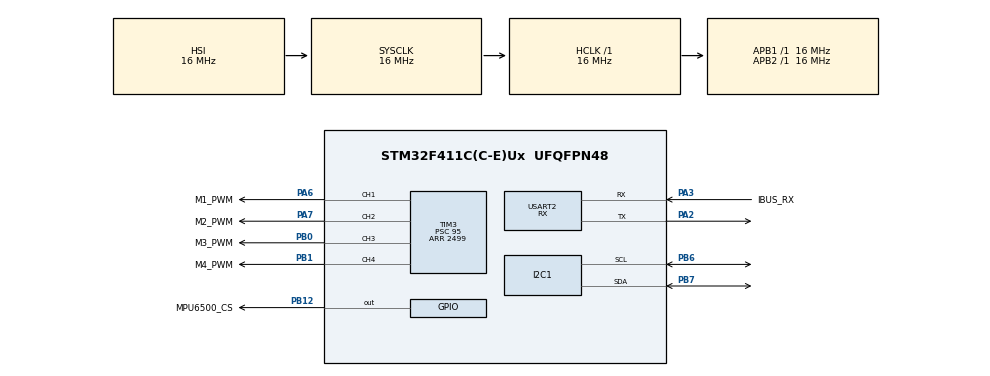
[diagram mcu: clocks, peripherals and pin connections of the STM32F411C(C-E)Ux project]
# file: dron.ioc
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Mcu.Family=STM32F4
Mcu.Name=STM32F411C(C-E)Ux
Mcu.Package=UFQFPN48
NVIC.PriorityGroup=NVIC_PRIORITYGROUP_4
NVIC.USART2_IRQn=true\:5\:0\:true\:false\:true\:true\:true\:true
PA13.Mode=Serial_Wire
PA13.Signal=SYS_JTMS-SWDIO
PA14.Mode=Serial_Wire
PA14.Signal=SYS_JTCK-SWCLK
PA2.Mode=Asynchronous
PA2.Signal=USART2_TX
PA3.GPIO_Label=IBUS_RX
PA3.Mode=Asynchronous
PA3.Signal=USART2_RX
PA6.GPIO_Label=M1_PWM
PA6.Signal=S_TIM3_CH1
PA7.GPIO_Label=M2_PWM
PA7.Signal=S_TIM3_CH2
PB0.GPIO_Label=M3_PWM
PB0.Signal=S_TIM3_CH3
PB1.GPIO_Label=M4_PWM
PB1.Signal=S_TIM3_CH4
PB12.GPIO_Label=MPU6500_CS
PB12.PinState=GPIO_PIN_SET
PB12.Signal=GPIO_Output
PB13.GPIO_Label=MPU6500_SCK
PB13.Signal=SPI2_SCK
PB14.GPIO_Label=MPU6500_MISO
PB14.Signal=SPI2_MISO
PB15.GPIO_Label=MPU6500_MOSI
PB15.Signal=SPI2_MOSI
PB6.GPIO_Speed=GPIO_SPEED_FREQ_LOW
PB6.Mode=I2C
PB6.Signal=I2C1_SCL
PB7.GPIO_Speed=GPIO_SPEED_FREQ_LOW
PB7.Mode=I2C
PB7.Signal=I2C1_SDA
ProjectManager.HeapSize=0x200
ProjectManager.StackSize=0x400
ProjectManager.TargetToolchain=STM32CubeIDE
RCC.AHBFreq_Value=16000000
RCC.APB1Freq_Value=16000000
RCC.APB2Freq_Value=16000000
RCC.CortexFreq_Value=16000000
RCC.HSE_VALUE=25000000
RCC.HSI_VALUE=16000000
RCC.LSE_VALUE=32768
RCC.SYSCLKFreq_VALUE=16000000
RCC.VCOOutputFreq_Value=192000000
SH.S_TIM3_CH1.0=TIM3_CH1,PWM Generation1 CH1
SH.S_TIM3_CH2.0=TIM3_CH2,PWM Generation2 CH2
SH.S_TIM3_CH3.0=TIM3_CH3,PWM Generation3 CH3
SH.S_TIM3_CH4.0=TIM3_CH4,PWM Generation4 CH4
TIM3.Channel-PWM\ Generation1\ CH1=TIM_CHANNEL_1
TIM3.Channel-PWM\ Generation2\ CH2=TIM_CHANNEL_2
TIM3.Channel-PWM\ Generation3\ CH3=TIM_CHANNEL_3
TIM3.Channel-PWM\ Generation4\ CH4=TIM_CHANNEL_4
TIM3.OC1Preload_PWM=DISABLE
TIM3.OC2Preload_PWM=DISABLE
TIM3.OC3Preload_PWM=DISABLE
TIM3.OC4Preload_PWM=DISABLE
TIM3.Period=2499
TIM3.Prescaler=95
TIM3.Pulse-PWM\ Generation1\ CH1=1000
TIM3.Pulse-PWM\ Generation2\ CH2=1000
TIM3.Pulse-PWM\ Generation3\ CH3=1000
TIM3.Pulse-PWM\ Generation4\ CH4=1000
USART2.Mode=MODE_RX
USART2.VirtualMode=VM_ASYNC
VP_TIM3_VS_ClockSourceINT.Mode=Internal
board=custom

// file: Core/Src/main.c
/* USER CODE BEGIN Header */
/**
  ******************************************************************************
  * @file           : main.c
  * @brief          : Main program body
  ******************************************************************************
  * @attention
  *
  * Copyright (c) 2026 STMicroelectronics.
  * All rights reserved.
  *
  * This software is licensed under terms that can be found in the LICENSE file
  * in the root directory of this software component.
  * If no LICENSE file comes with this software, it is provided AS-IS.
  *
  ******************************************************************************
  */
/* USER CODE END Header */
#include "main.h"

/* USER CODE BEGIN Includes */
/* Quadcopter flight controller (STM32F411CEU6 Black Pill).
 * The gyro is calibrated at startup, then a 100 Hz loop runs:
 * RC input -> IMU -> attitude filter -> PID -> motor mixer -> ESCs. */
#include <math.h>

#include "esc_pwm.h"
#include "flight_diagnostics.h"
#include "ibus_receiver.h"
#include "imu_filter.h"
#include "motor_control.h"
#include "mpu6500.h"
#include "pid_controller.h"
#include "rc_arm.h"
#include "rc_input.h"

#ifndef MPU6500_USE_SPI
#error "MPU6500_USE_SPI undefined: include mpu6500.h"
#endif

/* USER CODE END Includes */

/* USER CODE BEGIN PTD */

typedef enum
{
  SYSTEM_CLOCK_SOURCE_NONE = 0U,
  SYSTEM_CLOCK_SOURCE_HSE_PLL,
  SYSTEM_CLOCK_SOURCE_HSI,
  SYSTEM_CLOCK_SOURCE_PLL_PRESET
} SystemClockSource_t;

typedef enum
{
  FLIGHT_STOP_REASON_NONE = 0U,
  FLIGHT_STOP_REASON_USER_DISARM,
  FLIGHT_STOP_REASON_RC_INPUT_LOST,
  FLIGHT_STOP_REASON_SYSTEM_NOT_READY,
  FLIGHT_STOP_REASON_MPU_READ_ERROR,
  FLIGHT_STOP_REASON_LOOP_TIMING_ERROR,
  FLIGHT_STOP_REASON_MOTOR_CONTROL_BLOCKED,
  FLIGHT_STOP_REASON_UNKNOWN
} FlightStopReason_t;

/* USER CODE END PTD */

/* USER CODE BEGIN PD */

#define RC_COMMAND_MOTOR_OUTPUT_ENABLED 1
#define CONTROL_LOOP_PERIOD_MS          10U  /* 100 Hz */
/* Level offset: the angle the sensor reads while the drone is level.
 * Re-measure it if the sensor or its mounting changes. */
#define IMU_LEVEL_ROLL_OFFSET_DEG       0.0f
#define IMU_LEVEL_PITCH_OFFSET_DEG      0.0f
#define IMU_CALIB_MAX_GYRO_SPREAD_DPS   3.0f
#define IMU_CALIB_MAX_ACCEL_SPREAD_G    0.05f
#define IMU_CALIB_MAX_ATTEMPTS          3U

#define IMU_READ_FAIL_TOLERANCE         3U  /* motors stop after this many consecutive IMU errors */

#define MPU_POWER_UP_DELAY_MS           100U

/* Watchdog (IWDG): the MCU resets if the loop stalls for ~1 s. */
#define WATCHDOG_PRESCALER_CODE         3U
#define WATCHDOG_RELOAD_VALUE           1000U
#define WATCHDOG_KEY_START              0xCCCCU
#define WATCHDOG_KEY_WRITE_ACCESS       0x5555U
#define WATCHDOG_KEY_RELOAD             0xAAAAU
#define WATCHDOG_SYNC_TIMEOUT_MS        48U

#define RESET_CAUSE_FLAG_LPWR           0x01U
#define RESET_CAUSE_FLAG_WWDG           0x02U
#define RESET_CAUSE_FLAG_IWDG           0x04U
#define RESET_CAUSE_FLAG_SFT            0x08U
#define RESET_CAUSE_FLAG_POR            0x10U
#define RESET_CAUSE_FLAG_PIN            0x20U
#define RESET_CAUSE_FLAG_BOR            0x40U
#define IMU_SIGN_CHECK_TRIGGER_DPS      20.0f
/* USER CODE END PD */

I2C_HandleTypeDef hi2c1;

TIM_HandleTypeDef htim3;

UART_HandleTypeDef huart2;

/* USER CODE BEGIN PV */
volatile SystemClockSource_t system_clock_source = SYSTEM_CLOCK_SOURCE_NONE;
volatile HAL_StatusTypeDef system_clock_hse_status = HAL_ERROR;
volatile uint32_t system_hclk_hz;
volatile uint32_t system_pclk1_hz;
volatile uint32_t system_timer_clock_hz;
volatile uint32_t system_timer_prescaler;
MPU6500_Data_t mpu_data;
HAL_StatusTypeDef mpu_status;
IMU_Filter_t imu_filter;
HAL_StatusTypeDef imu_calibration_status;
uint8_t imu_filter_ready;
uint32_t imu_last_tick;
uint32_t control_loop_next_tick;
volatile uint32_t control_loop_schedule_late_count;
volatile uint32_t control_loop_schedule_resync_count;
volatile uint32_t control_loop_last_lateness_ms;
volatile float imu_control_roll_deg;
volatile float imu_control_pitch_deg;
volatile float imu_calib_bias_x_dps;
volatile float imu_calib_bias_y_dps;
volatile float imu_calib_bias_z_dps;
volatile float imu_calib_spread_x_dps;
volatile float imu_calib_spread_y_dps;
volatile float imu_calib_spread_z_dps;
volatile float imu_calib_accel_spread_g;
volatile uint32_t imu_calib_attempt_count;
volatile uint32_t imu_calib_reject_count;
PID_Controller_t roll_pid;
PID_Controller_t pitch_pid;
PID_Controller_t yaw_rate_pid;
volatile float roll_setpoint_deg;
volatile float pitch_setpoint_deg;
volatile float yaw_rate_setpoint_dps;
volatile float roll_pid_output;
volatile float pitch_pid_output;
volatile float yaw_pid_output;
HAL_StatusTypeDef esc_status;
HAL_StatusTypeDef ibus_start_status;
volatile uint8_t rc_command_preview_valid;
volatile uint8_t rc_command_motor_lock_active;
volatile uint8_t rc_command_system_ready;
volatile uint16_t rc_command_throttle_preview_us;
#define FLIGHT_YAW_SATURATION_EPSILON_US 0.5f
volatile uint32_t flight_yaw_armed_loop_count;
volatile uint32_t flight_yaw_saturated_count;
volatile float flight_yaw_integral_peak;
volatile float flight_yaw_rate_mean_dps;
static uint8_t flight_yaw_session_active;
#define FLIGHT_YAW_CENTERED_SETPOINT_DPS 0.5f
volatile float flight_yaw_output_mean_us;
volatile float flight_roll_integral_peak;
volatile float flight_pitch_integral_peak;
#define PID_INTEGRAL_ENABLE_THROTTLE_US 1250U
/* ESC calibration mode: within 15 s after power-up, with arm off, holding
 * throttle above 95% for 2 s passes throttle straight to the ESCs. NO PROPS! */
#define ESC_CALIBRATION_WINDOW_MS    15000U
#define ESC_CALIBRATION_HOLD_MS       2000U
#define ESC_CALIBRATION_THROTTLE_MIN   0.95f
volatile uint8_t esc_calibration_active;
volatile uint16_t esc_calibration_pulse_us;
volatile uint32_t esc_calibration_pass_count;
static uint8_t esc_calibration_hold_active;
static uint32_t esc_calibration_hold_start_tick;
volatile FlightStopReason_t flight_stop_reason;
volatile uint32_t flight_stop_count;
volatile uint8_t flight_stop_session_active;
volatile RC_ArmState_t flight_stop_rc_arm_state;
volatile RC_InputStatus_t flight_stop_rc_input_status;
volatile IBUS_Status_t flight_stop_ibus_status;
volatile MotorControl_State_t flight_stop_motor_control_state;
volatile HAL_StatusTypeDef flight_stop_mpu_status;
volatile HAL_StatusTypeDef flight_stop_mpu_read_status;
volatile uint8_t flight_stop_rc_input_valid;
volatile uint8_t flight_stop_ibus_link_valid;
volatile uint8_t flight_stop_system_ready;
volatile uint32_t flight_stop_i2c_error;
volatile uint32_t flight_stop_hi2c_error;
volatile uint32_t flight_stop_ibus_frame_age_ms;
volatile float flight_stop_roll_deg;
volatile float flight_stop_pitch_deg;
volatile float flight_stop_throttle_percent;
volatile uint16_t flight_stop_motor_throttle_us;
volatile uint16_t flight_stop_esc_motor_us[ESC_PWM_CHANNEL_COUNT];

volatile uint8_t imu_read_fail_streak;
volatile uint32_t imu_read_coast_count;

volatile uint8_t watchdog_started;
volatile uint32_t main_loop_pass_count;
volatile uint32_t imu_recovery_pass_count;
volatile uint32_t imu_init_start_tick;
volatile uint32_t imu_init_extra_delay_ms;

/* Axis sign test. Expected: roll + right side down, pitch + nose up,
 * yaw + clockwise seen from above. */
volatile float imu_sign_check_gyro_min_dps[3];
volatile float imu_sign_check_gyro_max_dps[3];
volatile float imu_sign_check_first_dps[3];
volatile uint8_t imu_sign_check_first_captured[3];

volatile uint8_t reset_cause_flags;
volatile uint8_t reset_cause_was_watchdog;
/* USER CODE END PV */

void SystemClock_Config(void);
static void MX_GPIO_Init(void);
static void MX_I2C1_Init(void);
static void MX_USART2_UART_Init(void);
static void MX_TIM3_Init(void);
/* USER CODE BEGIN PFP */
static HAL_StatusTypeDef SystemClock_ConfigHsePll(void);
static void SystemClock_UpgradeToHsePll(void);
#if !MPU6500_USE_SPI
static HAL_StatusTypeDef I2C1_BusRecover(void);
#endif
static HAL_StatusTypeDef IMU_CalibrateGyroOnce(uint16_t sample_count);
static HAL_StatusTypeDef IMU_CalibrateGyro(uint16_t sample_count);
static uint8_t RC_CommandSystemReady(void);
static void RC_CommandForceSystemDisarm(void);
static void ControlLoop_WaitNext(void);
static void FlightStopDiagnostics_Init(void);
static void FlightStopDiagnostics_Latch(FlightStopReason_t reason);
static FlightStopReason_t FlightStopDiagnostics_RCReason(void);

static void ResetCause_Capture(void);
static void Watchdog_Start(void);
static void Watchdog_Refresh(void);
static void IMU_SignCheck_Update(void);
/* USER CODE END PFP */

/* USER CODE BEGIN 0 */
static HAL_StatusTypeDef SystemClock_ConfigHsePll(void)
{
  RCC_OscInitTypeDef RCC_OscInitStruct = {0};
  RCC_ClkInitTypeDef RCC_ClkInitStruct = {0};

  RCC_OscInitStruct.OscillatorType = RCC_OSCILLATORTYPE_HSE;
  RCC_OscInitStruct.HSEState = RCC_HSE_ON;
  RCC_OscInitStruct.PLL.PLLState = RCC_PLL_ON;
  RCC_OscInitStruct.PLL.PLLSource = RCC_PLLSOURCE_HSE;
  RCC_OscInitStruct.PLL.PLLM = 25;
  RCC_OscInitStruct.PLL.PLLN = 192;
  RCC_OscInitStruct.PLL.PLLP = RCC_PLLP_DIV2;
  RCC_OscInitStruct.PLL.PLLQ = 4;
  if (HAL_RCC_OscConfig(&RCC_OscInitStruct) != HAL_OK)
  {
    return HAL_ERROR;
  }

  RCC_ClkInitStruct.ClockType = RCC_CLOCKTYPE_HCLK|RCC_CLOCKTYPE_SYSCLK
                              |RCC_CLOCKTYPE_PCLK1|RCC_CLOCKTYPE_PCLK2;
  RCC_ClkInitStruct.SYSCLKSource = RCC_SYSCLKSOURCE_PLLCLK;
  RCC_ClkInitStruct.AHBCLKDivider = RCC_SYSCLK_DIV1;
  RCC_ClkInitStruct.APB1CLKDivider = RCC_HCLK_DIV2;
  RCC_ClkInitStruct.APB2CLKDivider = RCC_HCLK_DIV1;

  return HAL_RCC_ClockConfig(&RCC_ClkInitStruct, FLASH_LATENCY_3);
}

/* Switch to 96 MHz (HSE + PLL); stays at 16 MHz if the HSE fails. */
static void SystemClock_UpgradeToHsePll(void)
{
  if (__HAL_RCC_GET_SYSCLK_SOURCE() == RCC_SYSCLKSOURCE_STATUS_PLLCLK)
  {
    system_clock_hse_status = HAL_OK;
    system_clock_source = SYSTEM_CLOCK_SOURCE_PLL_PRESET;
  }
  else
  {
    system_clock_hse_status = SystemClock_ConfigHsePll();
    system_clock_source = (system_clock_hse_status == HAL_OK)
                            ? SYSTEM_CLOCK_SOURCE_HSE_PLL
                            : SYSTEM_CLOCK_SOURCE_HSI;
  }

  system_hclk_hz = HAL_RCC_GetHCLKFreq();
  system_pclk1_hz = HAL_RCC_GetPCLK1Freq();
  system_timer_clock_hz = ESC_PWM_TimerClockHz();
  system_timer_prescaler = ESC_PWM_TimerPrescaler();
}

#if !MPU6500_USE_SPI
static HAL_StatusTypeDef I2C1_BusRecover(void)
{
  GPIO_InitTypeDef GPIO_InitStruct = {0};
  uint32_t pulse;

  (void)HAL_I2C_DeInit(&hi2c1);
  __HAL_RCC_I2C1_FORCE_RESET();
  HAL_Delay(1);
  __HAL_RCC_I2C1_RELEASE_RESET();

  __HAL_RCC_GPIOB_CLK_ENABLE();
  HAL_GPIO_WritePin(GPIOB, GPIO_PIN_6|GPIO_PIN_7, GPIO_PIN_SET);

  GPIO_InitStruct.Pin = GPIO_PIN_6|GPIO_PIN_7;
  GPIO_InitStruct.Mode = GPIO_MODE_OUTPUT_OD;
  GPIO_InitStruct.Pull = GPIO_PULLUP;
  GPIO_InitStruct.Speed = GPIO_SPEED_FREQ_VERY_HIGH;
  HAL_GPIO_Init(GPIOB, &GPIO_InitStruct);
  HAL_Delay(1);

  for (pulse = 0U; pulse < 9U; pulse++)
  {
    if (HAL_GPIO_ReadPin(GPIOB, GPIO_PIN_7) == GPIO_PIN_SET)
    {
      break;
    }

    HAL_GPIO_WritePin(GPIOB, GPIO_PIN_6, GPIO_PIN_RESET);
    HAL_Delay(1);
    HAL_GPIO_WritePin(GPIOB, GPIO_PIN_6, GPIO_PIN_SET);
    HAL_Delay(1);
  }

  HAL_GPIO_WritePin(GPIOB, GPIO_PIN_6, GPIO_PIN_RESET);
  HAL_GPIO_WritePin(GPIOB, GPIO_PIN_7, GPIO_PIN_RESET);
  HAL_Delay(1);
  HAL_GPIO_WritePin(GPIOB, GPIO_PIN_6, GPIO_PIN_SET);
  HAL_Delay(1);
  HAL_GPIO_WritePin(GPIOB, GPIO_PIN_7, GPIO_PIN_SET);
  HAL_Delay(1);

  HAL_GPIO_DeInit(GPIOB, GPIO_PIN_6|GPIO_PIN_7);

  return HAL_I2C_Init(&hi2c1);
}
#endif

static HAL_StatusTypeDef IMU_CalibrateGyroOnce(uint16_t sample_count)
{
  MPU6500_Data_t sample;
  HAL_StatusTypeDef status;
  float gyro_sum_x = 0.0f;
  float gyro_sum_y = 0.0f;
  float gyro_sum_z = 0.0f;
  float gyro_min_x = 0.0f;
  float gyro_max_x = 0.0f;
  float gyro_min_y = 0.0f;
  float gyro_max_y = 0.0f;
  float gyro_min_z = 0.0f;
  float gyro_max_z = 0.0f;
  float accel_min_g = 0.0f;
  float accel_max_g = 0.0f;
  uint16_t index;

  if (sample_count == 0U)
  {
    return HAL_ERROR;
  }

  for (index = 0U; index < sample_count; index++)
  {
    float accel_norm_g;

    status = MPU6500_ReadAll(&hi2c1, &sample);
    if (status != HAL_OK)
    {
      return status;
    }

    gyro_sum_x += sample.gyro_x_dps;
    gyro_sum_y += sample.gyro_y_dps;
    gyro_sum_z += sample.gyro_z_dps;

    accel_norm_g = sqrtf((sample.accel_x_g * sample.accel_x_g) +
                         (sample.accel_y_g * sample.accel_y_g) +
                         (sample.accel_z_g * sample.accel_z_g));

    if (index == 0U)
    {
      gyro_min_x = sample.gyro_x_dps;
      gyro_max_x = sample.gyro_x_dps;
      gyro_min_y = sample.gyro_y_dps;
      gyro_max_y = sample.gyro_y_dps;
      gyro_min_z = sample.gyro_z_dps;
      gyro_max_z = sample.gyro_z_dps;
      accel_min_g = accel_norm_g;
      accel_max_g = accel_norm_g;
    }
    else
    {
      if (sample.gyro_x_dps < gyro_min_x) { gyro_min_x = sample.gyro_x_dps; }
      if (sample.gyro_x_dps > gyro_max_x) { gyro_max_x = sample.gyro_x_dps; }
      if (sample.gyro_y_dps < gyro_min_y) { gyro_min_y = sample.gyro_y_dps; }
      if (sample.gyro_y_dps > gyro_max_y) { gyro_max_y = sample.gyro_y_dps; }
      if (sample.gyro_z_dps < gyro_min_z) { gyro_min_z = sample.gyro_z_dps; }
      if (sample.gyro_z_dps > gyro_max_z) { gyro_max_z = sample.gyro_z_dps; }
      if (accel_norm_g < accel_min_g) { accel_min_g = accel_norm_g; }
      if (accel_norm_g > accel_max_g) { accel_max_g = accel_norm_g; }
    }

    HAL_Delay(8);
  }

  imu_calib_bias_x_dps = gyro_sum_x / (float)sample_count;
  imu_calib_bias_y_dps = gyro_sum_y / (float)sample_count;
  imu_calib_bias_z_dps = gyro_sum_z / (float)sample_count;
  imu_calib_spread_x_dps = gyro_max_x - gyro_min_x;
  imu_calib_spread_y_dps = gyro_max_y - gyro_min_y;
  imu_calib_spread_z_dps = gyro_max_z - gyro_min_z;
  imu_calib_accel_spread_g = accel_max_g - accel_min_g;

  if ((imu_calib_spread_x_dps > IMU_CALIB_MAX_GYRO_SPREAD_DPS) ||
      (imu_calib_spread_y_dps > IMU_CALIB_MAX_GYRO_SPREAD_DPS) ||
      (imu_calib_spread_z_dps > IMU_CALIB_MAX_GYRO_SPREAD_DPS) ||
      (imu_calib_accel_spread_g > IMU_CALIB_MAX_ACCEL_SPREAD_G))
  {
    return HAL_BUSY;
  }

  IMU_Filter_SetGyroBias(&imu_filter,
                         imu_calib_bias_x_dps,
                         imu_calib_bias_y_dps,
                         imu_calib_bias_z_dps);

  return HAL_OK;
}

static HAL_StatusTypeDef IMU_CalibrateGyro(uint16_t sample_count)
{
  HAL_StatusTypeDef status = HAL_ERROR;
  uint32_t attempt;

  for (attempt = 0U; attempt < IMU_CALIB_MAX_ATTEMPTS; attempt++)
  {
    imu_calib_attempt_count++;
    status = IMU_CalibrateGyroOnce(sample_count);
    if (status != HAL_BUSY)
    {
      return status;
    }

    imu_calib_reject_count++;
    HAL_Delay(500);
  }

  return HAL_BUSY;
}

static uint8_t RC_CommandSystemReady(void)
{
  float roll_deg = imu_control_roll_deg;
  float pitch_deg = imu_control_pitch_deg;

  if ((esc_status != HAL_OK) || (esc_pwm_started == 0U) ||
      (mpu_status != HAL_OK) || (imu_filter_ready == 0U) ||
      (imu_filter.initialized == 0U) ||
      (roll_deg != roll_deg) || (pitch_deg != pitch_deg))
  {
    return 0U;
  }

  if ((rc_arm_request == 0U) &&
      ((roll_deg > MOTOR_CONTROL_ARM_MAX_TILT_DEG) ||
       (roll_deg < -MOTOR_CONTROL_ARM_MAX_TILT_DEG) ||
       (pitch_deg > MOTOR_CONTROL_ARM_MAX_TILT_DEG) ||
       (pitch_deg < -MOTOR_CONTROL_ARM_MAX_TILT_DEG)))
  {
    return 0U;
  }

  return 1U;
}

static void RC_CommandForceSystemDisarm(void)
{
  MotorControl_ForceDisarm();
  if (rc_arm_request != 0U)
  {
    RC_Arm_ForceSystemBlock();
  }
}

static void FlightStopDiagnostics_Init(void)
{
  uint32_t index;

  flight_stop_reason = FLIGHT_STOP_REASON_NONE;
  flight_stop_count = 0U;
  flight_stop_session_active = 0U;
  flight_stop_rc_arm_state = RC_ARM_STATE_NOT_READY;
  flight_stop_rc_input_status = RC_INPUT_STATUS_NOT_READY;
  flight_stop_ibus_status = IBUS_STATUS_NOT_STARTED;
  flight_stop_motor_control_state = MOTOR_CONTROL_DISARMED;
  flight_stop_mpu_status = HAL_ERROR;
  flight_stop_mpu_read_status = HAL_ERROR;
  flight_stop_rc_input_valid = 0U;
  flight_stop_ibus_link_valid = 0U;
  flight_stop_system_ready = 0U;
  flight_stop_i2c_error = 0U;
  flight_stop_hi2c_error = 0U;
  flight_stop_ibus_frame_age_ms = 0U;
  flight_stop_roll_deg = 0.0f;
  flight_stop_pitch_deg = 0.0f;
  flight_stop_throttle_percent = 0.0f;
  flight_stop_motor_throttle_us = MOTOR_CONTROL_IDLE_US;
  for (index = 0U; index < ESC_PWM_CHANNEL_COUNT; index++)
  {
    flight_stop_esc_motor_us[index] = ESC_PWM_MIN_US;
  }
}

static void FlightStopDiagnostics_Latch(FlightStopReason_t reason)
{
  uint32_t index;

  if ((flight_stop_session_active == 0U) ||
      (reason == FLIGHT_STOP_REASON_NONE))
  {
    return;
  }

  flight_stop_reason = reason;
  flight_stop_count++;
  flight_stop_rc_arm_state = rc_arm_state;
  flight_stop_rc_input_status = rc_input_status;
  flight_stop_ibus_status = ibus_status;
  flight_stop_motor_control_state = motor_control_state;
  flight_stop_mpu_status = mpu_status;
  flight_stop_mpu_read_status = mpu6500_diagnostic.read_status;
  flight_stop_rc_input_valid = rc_input_valid;
  flight_stop_ibus_link_valid = ibus_link_valid;
  flight_stop_system_ready = rc_command_system_ready;
  flight_stop_i2c_error = mpu6500_diagnostic.i2c_error;
  flight_stop_hi2c_error = hi2c1.ErrorCode;
  flight_stop_ibus_frame_age_ms = ibus_frame_age_ms;
  flight_stop_roll_deg = imu_control_roll_deg;
  flight_stop_pitch_deg = imu_control_pitch_deg;
  flight_stop_throttle_percent = rc_input_throttle_percent;
  flight_stop_motor_throttle_us = motor_throttle_us;
  for (index = 0U; index < ESC_PWM_CHANNEL_COUNT; index++)
  {
    flight_stop_esc_motor_us[index] = esc_motor_us[index];
  }
  flight_stop_session_active = 0U;
}

static FlightStopReason_t FlightStopDiagnostics_RCReason(void)
{
  if ((rc_input_valid == 0U) ||
      (rc_arm_state == RC_ARM_STATE_INPUT_LOST))
  {
    return FLIGHT_STOP_REASON_RC_INPUT_LOST;
  }
  if ((rc_command_system_ready == 0U) ||
      (rc_arm_state == RC_ARM_STATE_SYSTEM_BLOCKED))
  {
    return FLIGHT_STOP_REASON_SYSTEM_NOT_READY;
  }
  if (rc_input_arm_switch_on == 0U)
  {
    return FLIGHT_STOP_REASON_USER_DISARM;
  }
  return FLIGHT_STOP_REASON_UNKNOWN;
}

static void ControlLoop_WaitNext(void)
{
  uint32_t now_tick = HAL_GetTick();
  int32_t wait_ms = (int32_t)(control_loop_next_tick - now_tick);

  if (wait_ms > 0)
  {
    HAL_Delay((uint32_t)wait_ms);
    control_loop_last_lateness_ms = 0U;
  }
  else
  {
    uint32_t lateness_ms = now_tick - control_loop_next_tick;

    control_loop_last_lateness_ms = lateness_ms;
    if (lateness_ms > 0U)
    {
      control_loop_schedule_late_count++;
    }
    if (lateness_ms >= CONTROL_LOOP_PERIOD_MS)
    {
      control_loop_next_tick = now_tick;
      control_loop_schedule_resync_count++;
    }
  }

  control_loop_next_tick += CONTROL_LOOP_PERIOD_MS;
}

static void ResetCause_Capture(void)
{
  uint8_t flags = 0U;

  if (__HAL_RCC_GET_FLAG(RCC_FLAG_LPWRRST) != RESET)
  {
    flags |= RESET_CAUSE_FLAG_LPWR;
  }
  if (__HAL_RCC_GET_FLAG(RCC_FLAG_WWDGRST) != RESET)
  {
    flags |= RESET_CAUSE_FLAG_WWDG;
  }
  if (__HAL_RCC_GET_FLAG(RCC_FLAG_IWDGRST) != RESET)
  {
    flags |= RESET_CAUSE_FLAG_IWDG;
  }
  if (__HAL_RCC_GET_FLAG(RCC_FLAG_SFTRST) != RESET)
  {
    flags |= RESET_CAUSE_FLAG_SFT;
  }
  if (__HAL_RCC_GET_FLAG(RCC_FLAG_PORRST) != RESET)
  {
    flags |= RESET_CAUSE_FLAG_POR;
  }
  if (__HAL_RCC_GET_FLAG(RCC_FLAG_PINRST) != RESET)
  {
    flags |= RESET_CAUSE_FLAG_PIN;
  }
  if (__HAL_RCC_GET_FLAG(RCC_FLAG_BORRST) != RESET)
  {
    flags |= RESET_CAUSE_FLAG_BOR;
  }

  reset_cause_flags = flags;
  reset_cause_was_watchdog =
      ((flags & RESET_CAUSE_FLAG_IWDG) != 0U) ? 1U : 0U;

  __HAL_RCC_CLEAR_RESET_FLAGS();
}

static void Watchdog_Start(void)
{
  uint32_t start_tick;

  if (watchdog_started != 0U)
  {
    return;
  }

  IWDG->KR = WATCHDOG_KEY_START;
  IWDG->KR = WATCHDOG_KEY_WRITE_ACCESS;
  IWDG->PR = WATCHDOG_PRESCALER_CODE;
  IWDG->RLR = WATCHDOG_RELOAD_VALUE;

  start_tick = HAL_GetTick();
  while ((IWDG->SR & (IWDG_SR_PVU | IWDG_SR_RVU)) != 0U)
  {
    if ((HAL_GetTick() - start_tick) > WATCHDOG_SYNC_TIMEOUT_MS)
    {
      break;
    }
  }

  IWDG->KR = WATCHDOG_KEY_RELOAD;
  watchdog_started = 1U;
}

static void Watchdog_Refresh(void)
{
  if (watchdog_started == 0U)
  {
    return;
  }

  IWDG->KR = WATCHDOG_KEY_RELOAD;
}

static void IMU_SignCheck_Update(void)
{
  float axis[3];
  uint8_t index;

  axis[0] = imu_filter.gyro_x_dps;
  axis[1] = imu_filter.gyro_y_dps;
  axis[2] = imu_filter.gyro_z_dps;

  for (index = 0U; index < 3U; index++)
  {
    if (axis[index] < imu_sign_check_gyro_min_dps[index])
    {
      imu_sign_check_gyro_min_dps[index] = axis[index];
    }
    if (axis[index] > imu_sign_check_gyro_max_dps[index])
    {
      imu_sign_check_gyro_max_dps[index] = axis[index];
    }
    if ((imu_sign_check_first_captured[index] == 0U) &&
        ((axis[index] > IMU_SIGN_CHECK_TRIGGER_DPS) ||
         (axis[index] < -IMU_SIGN_CHECK_TRIGGER_DPS)))
    {
      imu_sign_check_first_dps[index] = axis[index];
      imu_sign_check_first_captured[index] = 1U;
    }
  }
}

static void EscCalibration_Update(void)
{
  uint32_t now_tick = HAL_GetTick();
  uint16_t pulse_us;
  float normalized;

  if (esc_calibration_active != 0U)
  {
    if (rc_input_valid != 0U)
    {
      normalized = rc_input_throttle_normalized;
      if (normalized < 0.0f)
      {
        normalized = 0.0f;
      }
      if (normalized > 1.0f)
      {
        normalized = 1.0f;
      }
      pulse_us = (uint16_t)((float)ESC_PWM_MIN_US +
                            (normalized *
                             (float)(ESC_PWM_MAX_US - ESC_PWM_MIN_US)));
    }
    else
    {
      pulse_us = (uint16_t)ESC_PWM_MIN_US;
    }
    esc_calibration_pulse_us = pulse_us;
    ESC_PWM_SetAll(pulse_us, pulse_us, pulse_us, pulse_us);
    esc_calibration_pass_count++;
    HAL_Delay(5);
    return;
  }

  if (now_tick > (uint32_t)ESC_CALIBRATION_WINDOW_MS)
  {
    esc_calibration_hold_active = 0U;
    return;
  }

  if ((rc_input_valid != 0U) &&
      (rc_input_arm_switch_on == 0U) &&
      (rc_input_throttle_normalized >= ESC_CALIBRATION_THROTTLE_MIN))
  {
    if (esc_calibration_hold_active == 0U)
    {
      esc_calibration_hold_active = 1U;
      esc_calibration_hold_start_tick = now_tick;
    }
    else if ((now_tick - esc_calibration_hold_start_tick) >=
             (uint32_t)ESC_CALIBRATION_HOLD_MS)
    {
      esc_calibration_active = 1U;
    }
    else
    {
    }
  }
  else
  {
    esc_calibration_hold_active = 0U;
  }
}
/* USER CODE END 0 */

int main(void)
{

  /* MCU Configuration--------------------------------------------------------*/

  /* Reset of all peripherals, Initializes the Flash interface and the Systick. */
  HAL_Init();

  /* Configure the system clock */
  SystemClock_Config();

  /* USER CODE BEGIN SysInit */
  SystemClock_UpgradeToHsePll();
  /* USER CODE END SysInit */

  /* Initialize all configured peripherals */
  MX_GPIO_Init();
  MX_I2C1_Init();
  MX_USART2_UART_Init();
  MX_TIM3_Init();
  /* USER CODE BEGIN 2 */
  ResetCause_Capture();
  __HAL_DBGMCU_FREEZE_IWDG();
  ibus_start_status = IBUS_Receiver_Start(&huart2);
  esc_status = ESC_PWM_Start(&htim3);
  MotorControl_Init();
  RC_Input_Init();
  RC_Arm_Init();
  IMU_Filter_Init(&imu_filter,
                  20.0f,   /* accel low-pass (Hz) */
                  60.0f,   /* gyro low-pass (Hz) */
                  1.5f);   /* complementary filter tau (s) */
  FlightDiagnostics_Init();
  FlightStopDiagnostics_Init();
  /* Roll: angle control */
  PID_Controller_Init(&roll_pid,
                      1.5f,    /* Kp */
                      0.6f,    /* Ki */
                      0.60f,   /* Kd */
                      50.0f,   /* integral limit */
                      (float)MOTOR_CONTROL_CORRECTION_LIMIT_US);  /* output limit (µs) */
  /* Pitch: angle control */
  PID_Controller_Init(&pitch_pid,
                      1.5f,    /* Kp */
                      0.6f,    /* Ki */
                      0.60f,   /* Kd */
                      50.0f,   /* integral limit */
                      (float)MOTOR_CONTROL_CORRECTION_LIMIT_US);  /* output limit (µs) */
  /* Yaw: rate control */
  PID_Controller_Init(&yaw_rate_pid,
                      2.0f,    /* Kp */
                      1.0f,    /* Ki */
                      0.0f,    /* Kd */
                      40.0f,   /* integral limit */
                      100.0f); /* output limit (µs) */
  roll_setpoint_deg = 0.0f;
  pitch_setpoint_deg = 0.0f;
  yaw_rate_setpoint_dps = 0.0f;
  roll_pid_output = 0.0f;
  pitch_pid_output = 0.0f;
  yaw_pid_output = 0.0f;
  rc_command_preview_valid = 0U;
  rc_command_motor_lock_active =
      (RC_COMMAND_MOTOR_OUTPUT_ENABLED != 0) ? 0U : 1U;
  rc_command_system_ready = 0U;
  rc_command_throttle_preview_us = MOTOR_CONTROL_IDLE_US;
  imu_calibration_status = HAL_BUSY;
  imu_filter_ready = 0U;
  imu_last_tick = HAL_GetTick();
  control_loop_next_tick = imu_last_tick + CONTROL_LOOP_PERIOD_MS;
  control_loop_schedule_late_count = 0U;
  control_loop_schedule_resync_count = 0U;
  control_loop_last_lateness_ms = 0U;
  imu_control_roll_deg = 0.0f;
  imu_control_pitch_deg = 0.0f;
  imu_read_fail_streak = 0U;
  imu_read_coast_count = 0U;
  imu_init_start_tick = HAL_GetTick();
  if (imu_init_start_tick < MPU_POWER_UP_DELAY_MS)
  {
    imu_init_extra_delay_ms =
        (uint32_t)(MPU_POWER_UP_DELAY_MS - imu_init_start_tick);
    HAL_Delay(imu_init_extra_delay_ms);
  }
  else
  {
    imu_init_extra_delay_ms = 0U;
  }
  mpu_status = MPU6500_Init(&hi2c1);

  /* USER CODE END 2 */

  /* Infinite loop */
  while (1)
  {

    /* USER CODE BEGIN 3 */
    {
      main_loop_pass_count++;
      Watchdog_Refresh();
      IBUS_Receiver_Update(HAL_GetTick());
      RC_Input_Update();

      EscCalibration_Update();
      if (esc_calibration_active != 0U)
      {
        continue;
      }
      rc_command_system_ready = RC_CommandSystemReady();
      RC_Arm_Update(rc_command_system_ready);
      if ((flight_stop_session_active != 0U) &&
          (rc_arm_request == 0U))
      {
        FlightStopDiagnostics_Latch(FlightStopDiagnostics_RCReason());
      }

      if (rc_input_valid != 0U)
      {
        roll_setpoint_deg = rc_input_roll_deg;
        pitch_setpoint_deg = rc_input_pitch_deg;
        yaw_rate_setpoint_dps = rc_input_yaw_rate_dps;
        rc_command_throttle_preview_us =
            MotorControl_ThrottleFromNormalized(rc_input_throttle_normalized);
        rc_command_preview_valid = 1U;
      }
      else
      {
        roll_setpoint_deg = 0.0f;
        pitch_setpoint_deg = 0.0f;
        yaw_rate_setpoint_dps = 0.0f;
        rc_command_throttle_preview_us = MOTOR_CONTROL_IDLE_US;
        rc_command_preview_valid = 0U;
      }

#if RC_COMMAND_MOTOR_OUTPUT_ENABLED
      motor_throttle_us = rc_command_throttle_preview_us;
      motor_arm_request = rc_arm_request;
#else
      motor_throttle_us = MOTOR_CONTROL_IDLE_US;
      motor_arm_request = 0U;
      MotorControl_ForceDisarm();
#endif
    }

    if (mpu_status == HAL_OK)
    {
      /* Gyro calibration once at startup; the drone must be still. */
      if (imu_filter_ready == 0U)
      {
        imu_calibration_status = IMU_CalibrateGyro(500U);
        if (imu_calibration_status == HAL_OK)
        {
          imu_filter_ready = 1U;
          imu_last_tick = HAL_GetTick();
          control_loop_next_tick =
              imu_last_tick + CONTROL_LOOP_PERIOD_MS;
          PID_Controller_Reset(&roll_pid);
          PID_Controller_Reset(&pitch_pid);
          PID_Controller_Reset(&yaw_rate_pid);
          RC_CommandForceSystemDisarm();
          Watchdog_Start();
        }
        else if (imu_calibration_status != HAL_BUSY)
        {
          mpu_status = imu_calibration_status;
        }
      }
      else
      {
        uint32_t now_tick;
        float dt_s;

        /* 100 Hz control step */
        ControlLoop_WaitNext();
        mpu_status = MPU6500_ReadAll(&hi2c1, &mpu_data);
        if (mpu_status == HAL_OK)
        {
          imu_read_fail_streak = 0U;
          now_tick = HAL_GetTick();
          dt_s = (float)(now_tick - imu_last_tick) * 0.001f;
          imu_last_tick = now_tick;
          if ((dt_s > 0.0f) && (dt_s <= 0.1f))
          {
            IMU_Filter_Update(&imu_filter, &mpu_data, dt_s);
            IMU_SignCheck_Update();
            imu_control_roll_deg =
                imu_filter.roll_deg - IMU_LEVEL_ROLL_OFFSET_DEG;
            imu_control_pitch_deg =
                imu_filter.pitch_deg - IMU_LEVEL_PITCH_OFFSET_DEG;
            if (motor_armed == 0U)
            {
              PID_Controller_ResetIntegral(&roll_pid);
              PID_Controller_ResetIntegral(&pitch_pid);
              PID_Controller_ResetIntegral(&yaw_rate_pid);
            }
            {
              uint8_t integral_enabled =
                  (motor_applied_throttle_us >
                   PID_INTEGRAL_ENABLE_THROTTLE_US) ? 1U : 0U;

              PID_Controller_SetIntegralEnabled(&roll_pid, integral_enabled);
              PID_Controller_SetIntegralEnabled(&pitch_pid, integral_enabled);
              PID_Controller_SetIntegralEnabled(&yaw_rate_pid,
                                                integral_enabled);
            }
            roll_pid_output = PID_Controller_Update(&roll_pid,
                                                    roll_setpoint_deg,
                                                    imu_control_roll_deg,
                                                    imu_filter.gyro_x_dps,
                                                    dt_s);
            pitch_pid_output = PID_Controller_Update(&pitch_pid,
                                                     pitch_setpoint_deg,
                                                     imu_control_pitch_deg,
                                                     imu_filter.gyro_y_dps,
                                                     dt_s);
            yaw_pid_output = PID_Controller_Update(&yaw_rate_pid,
                                                   yaw_rate_setpoint_dps,
                                                   imu_filter.gyro_z_dps,
                                                   0.0f,
                                                   dt_s);
            MotorControl_Update(mpu_status,
                                imu_filter_ready,
                                imu_control_roll_deg,
                                imu_control_pitch_deg,
                                roll_pid_output,
                                pitch_pid_output,
                                yaw_pid_output);
            if (motor_armed != 0U)
            {
              if (flight_yaw_session_active == 0U)
              {
                flight_yaw_session_active = 1U;
                flight_yaw_armed_loop_count = 0U;
                flight_yaw_saturated_count = 0U;
                flight_yaw_integral_peak = 0.0f;
                flight_yaw_rate_mean_dps = 0.0f;
                flight_yaw_output_mean_us = 0.0f;
                flight_roll_integral_peak = 0.0f;
                flight_pitch_integral_peak = 0.0f;
              }
              {
                float axis_integral_abs;

                axis_integral_abs = fabsf(roll_pid.integral);
                if (axis_integral_abs > flight_roll_integral_peak)
                {
                  flight_roll_integral_peak = axis_integral_abs;
                }
                axis_integral_abs = fabsf(pitch_pid.integral);
                if (axis_integral_abs > flight_pitch_integral_peak)
                {
                  flight_pitch_integral_peak = axis_integral_abs;
                }
              }
              if (fabsf(yaw_rate_setpoint_dps) <=
                  FLIGHT_YAW_CENTERED_SETPOINT_DPS)
              {
                float yaw_integral_abs;

                flight_yaw_armed_loop_count++;
                flight_yaw_rate_mean_dps +=
                    (imu_filter.gyro_z_dps - flight_yaw_rate_mean_dps) /
                    (float)flight_yaw_armed_loop_count;
                flight_yaw_output_mean_us +=
                    (yaw_pid_output - flight_yaw_output_mean_us) /
                    (float)flight_yaw_armed_loop_count;
                yaw_integral_abs = fabsf(yaw_rate_pid.integral);
                if (yaw_integral_abs > flight_yaw_integral_peak)
                {
                  flight_yaw_integral_peak = yaw_integral_abs;
                }
                if (fabsf(yaw_pid_output) >=
                    (yaw_rate_pid.output_limit -
                     FLIGHT_YAW_SATURATION_EPSILON_US))
                {
                  flight_yaw_saturated_count++;
                }
              }
            }
            else
            {
              flight_yaw_session_active = 0U;
            }
            if (motor_armed != 0U)
            {
              flight_stop_session_active = 1U;
            }
            else if ((flight_stop_session_active != 0U) &&
                     (rc_arm_request != 0U))
            {
              FlightStopDiagnostics_Latch(
                  FLIGHT_STOP_REASON_MOTOR_CONTROL_BLOCKED);
            }
            if ((rc_arm_request != 0U) && (motor_armed == 0U))
            {
              RC_Arm_ForceSystemBlock();
            }
            FlightDiagnostics_Update(dt_s, &mpu_data, motor_armed);
          }
          else
          {
            FlightStopDiagnostics_Latch(
                FLIGHT_STOP_REASON_LOOP_TIMING_ERROR);
            RC_CommandForceSystemDisarm();
          }
        }
        else
        {
          imu_read_fail_streak++;
          if (imu_read_fail_streak >= IMU_READ_FAIL_TOLERANCE)
          {
            FlightStopDiagnostics_Latch(FLIGHT_STOP_REASON_MPU_READ_ERROR);
            RC_CommandForceSystemDisarm();
          }
          else
          {
            imu_read_coast_count++;
            MotorControl_Update(HAL_OK,
                                imu_filter_ready,
                                imu_control_roll_deg,
                                imu_control_pitch_deg,
                                roll_pid_output,
                                pitch_pid_output,
                                yaw_pid_output);
            mpu_status = HAL_OK;
          }
        }
      }
    }
    else
    {
      FlightStopDiagnostics_Latch(FLIGHT_STOP_REASON_MPU_READ_ERROR);
      RC_CommandForceSystemDisarm();
      /* IMU error: motors stop and the sensor is re-initialized. */
      imu_recovery_pass_count++;
      Watchdog_Refresh();
      HAL_Delay(20);
#if MPU6500_USE_SPI
      mpu_status = MPU6500_Init(&hi2c1);
#else
      mpu_status = I2C1_BusRecover();
      if (mpu_status == HAL_OK)
      {
        mpu_status = MPU6500_Init(&hi2c1);
      }
#endif
      imu_read_fail_streak = 0U;
    }

  }
  /* USER CODE END 3 */
}

void SystemClock_Config(void)
{
  RCC_OscInitTypeDef RCC_OscInitStruct = {0};
  RCC_ClkInitTypeDef RCC_ClkInitStruct = {0};

  /** Configure the main internal regulator output voltage
  */
  __HAL_RCC_PWR_CLK_ENABLE();
  __HAL_PWR_VOLTAGESCALING_CONFIG(PWR_REGULATOR_VOLTAGE_SCALE1);

  /** Initializes the RCC Oscillators according to the specified parameters
  * in the RCC_OscInitTypeDef structure.
  */
  RCC_OscInitStruct.OscillatorType = RCC_OSCILLATORTYPE_HSI;
  RCC_OscInitStruct.HSIState = RCC_HSI_ON;
  RCC_OscInitStruct.HSICalibrationValue = RCC_HSICALIBRATION_DEFAULT;
  RCC_OscInitStruct.PLL.PLLState = RCC_PLL_NONE;
  if (HAL_RCC_OscConfig(&RCC_OscInitStruct) != HAL_OK)
  {
    Error_Handler();
  }

  /** Initializes the CPU, AHB and APB buses clocks
  */
  RCC_ClkInitStruct.ClockType = RCC_CLOCKTYPE_HCLK|RCC_CLOCKTYPE_SYSCLK
                              |RCC_CLOCKTYPE_PCLK1|RCC_CLOCKTYPE_PCLK2;
  RCC_ClkInitStruct.SYSCLKSource = RCC_SYSCLKSOURCE_HSI;
  RCC_ClkInitStruct.AHBCLKDivider = RCC_SYSCLK_DIV1;
  RCC_ClkInitStruct.APB1CLKDivider = RCC_HCLK_DIV1;
  RCC_ClkInitStruct.APB2CLKDivider = RCC_HCLK_DIV1;

  if (HAL_RCC_ClockConfig(&RCC_ClkInitStruct, FLASH_LATENCY_0) != HAL_OK)
  {
    Error_Handler();
  }
}

static void MX_I2C1_Init(void)
{

  hi2c1.Instance = I2C1;
  hi2c1.Init.ClockSpeed = 100000;
  hi2c1.Init.DutyCycle = I2C_DUTYCYCLE_2;
  hi2c1.Init.OwnAddress1 = 0;
  hi2c1.Init.AddressingMode = I2C_ADDRESSINGMODE_7BIT;
  hi2c1.Init.DualAddressMode = I2C_DUALADDRESS_DISABLE;
  hi2c1.Init.OwnAddress2 = 0;
  hi2c1.Init.GeneralCallMode = I2C_GENERALCALL_DISABLE;
  hi2c1.Init.NoStretchMode = I2C_NOSTRETCH_DISABLE;
  if (HAL_I2C_Init(&hi2c1) != HAL_OK)
  {
    Error_Handler();
  }

}

static void MX_TIM3_Init(void)
{

  TIM_ClockConfigTypeDef sClockSourceConfig = {0};
  TIM_MasterConfigTypeDef sMasterConfig = {0};
  TIM_OC_InitTypeDef sConfigOC = {0};

  htim3.Instance = TIM3;
  htim3.Init.Prescaler = 95;
  htim3.Init.CounterMode = TIM_COUNTERMODE_UP;
  htim3.Init.Period = 2499;
  htim3.Init.ClockDivision = TIM_CLOCKDIVISION_DIV1;
  htim3.Init.AutoReloadPreload = TIM_AUTORELOAD_PRELOAD_DISABLE;
  if (HAL_TIM_Base_Init(&htim3) != HAL_OK)
  {
    Error_Handler();
  }
  sClockSourceConfig.ClockSource = TIM_CLOCKSOURCE_INTERNAL;
  if (HAL_TIM_ConfigClockSource(&htim3, &sClockSourceConfig) != HAL_OK)
  {
    Error_Handler();
  }
  if (HAL_TIM_PWM_Init(&htim3) != HAL_OK)
  {
    Error_Handler();
  }
  sMasterConfig.MasterOutputTrigger = TIM_TRGO_RESET;
  sMasterConfig.MasterSlaveMode = TIM_MASTERSLAVEMODE_DISABLE;
  if (HAL_TIMEx_MasterConfigSynchronization(&htim3, &sMasterConfig) != HAL_OK)
  {
    Error_Handler();
  }
  sConfigOC.OCMode = TIM_OCMODE_PWM1;
  sConfigOC.Pulse = 1000;
  sConfigOC.OCPolarity = TIM_OCPOLARITY_HIGH;
  sConfigOC.OCFastMode = TIM_OCFAST_DISABLE;
  if (HAL_TIM_PWM_ConfigChannel(&htim3, &sConfigOC, TIM_CHANNEL_1) != HAL_OK)
  {
    Error_Handler();
  }
  __HAL_TIM_DISABLE_OCxPRELOAD(&htim3, TIM_CHANNEL_1);
  if (HAL_TIM_PWM_ConfigChannel(&htim3, &sConfigOC, TIM_CHANNEL_2) != HAL_OK)
  {
    Error_Handler();
  }
  __HAL_TIM_DISABLE_OCxPRELOAD(&htim3, TIM_CHANNEL_2);
  if (HAL_TIM_PWM_ConfigChannel(&htim3, &sConfigOC, TIM_CHANNEL_3) != HAL_OK)
  {
    Error_Handler();
  }
  __HAL_TIM_DISABLE_OCxPRELOAD(&htim3, TIM_CHANNEL_3);
  if (HAL_TIM_PWM_ConfigChannel(&htim3, &sConfigOC, TIM_CHANNEL_4) != HAL_OK)
  {
    Error_Handler();
  }
  __HAL_TIM_DISABLE_OCxPRELOAD(&htim3, TIM_CHANNEL_4);
  HAL_TIM_MspPostInit(&htim3);

}

static void MX_USART2_UART_Init(void)
{

  huart2.Instance = USART2;
  huart2.Init.BaudRate = 115200;
  huart2.Init.WordLength = UART_WORDLENGTH_8B;
  huart2.Init.StopBits = UART_STOPBITS_1;
  huart2.Init.Parity = UART_PARITY_NONE;
  huart2.Init.Mode = UART_MODE_RX;
  huart2.Init.HwFlowCtl = UART_HWCONTROL_NONE;
  huart2.Init.OverSampling = UART_OVERSAMPLING_16;
  if (HAL_UART_Init(&huart2) != HAL_OK)
  {
    Error_Handler();
  }

}

static void MX_GPIO_Init(void)
{
  GPIO_InitTypeDef GPIO_InitStruct = {0};

  /* GPIO Ports Clock Enable */
  __HAL_RCC_GPIOA_CLK_ENABLE();
  __HAL_RCC_GPIOB_CLK_ENABLE();

  /*Configure GPIO pin Output Level */
  HAL_GPIO_WritePin(MPU6500_CS_GPIO_Port, MPU6500_CS_Pin, GPIO_PIN_SET);

  /*Configure GPIO pin : MPU6500_CS_Pin */
  GPIO_InitStruct.Pin = MPU6500_CS_Pin;
  GPIO_InitStruct.Mode = GPIO_MODE_OUTPUT_PP;
  GPIO_InitStruct.Pull = GPIO_NOPULL;
  GPIO_InitStruct.Speed = GPIO_SPEED_FREQ_LOW;
  HAL_GPIO_Init(MPU6500_CS_GPIO_Port, &GPIO_InitStruct);

  /*Configure GPIO pins : MPU6500_SCK_Pin MPU6500_MISO_Pin MPU6500_MOSI_Pin */
  GPIO_InitStruct.Pin = MPU6500_SCK_Pin|MPU6500_MISO_Pin|MPU6500_MOSI_Pin;
  GPIO_InitStruct.Mode = GPIO_MODE_AF_PP;
  GPIO_InitStruct.Pull = GPIO_NOPULL;
  GPIO_InitStruct.Speed = GPIO_SPEED_FREQ_VERY_HIGH;
  GPIO_InitStruct.Alternate = GPIO_AF5_SPI2;
  HAL_GPIO_Init(GPIOB, &GPIO_InitStruct);

}

void Error_Handler(void)
{
  /* USER CODE BEGIN Error_Handler_Debug */
  ESC_PWM_SetMinimum();
  __disable_irq();
  while (1)
  {
  }
  /* USER CODE END Error_Handler_Debug */
}
